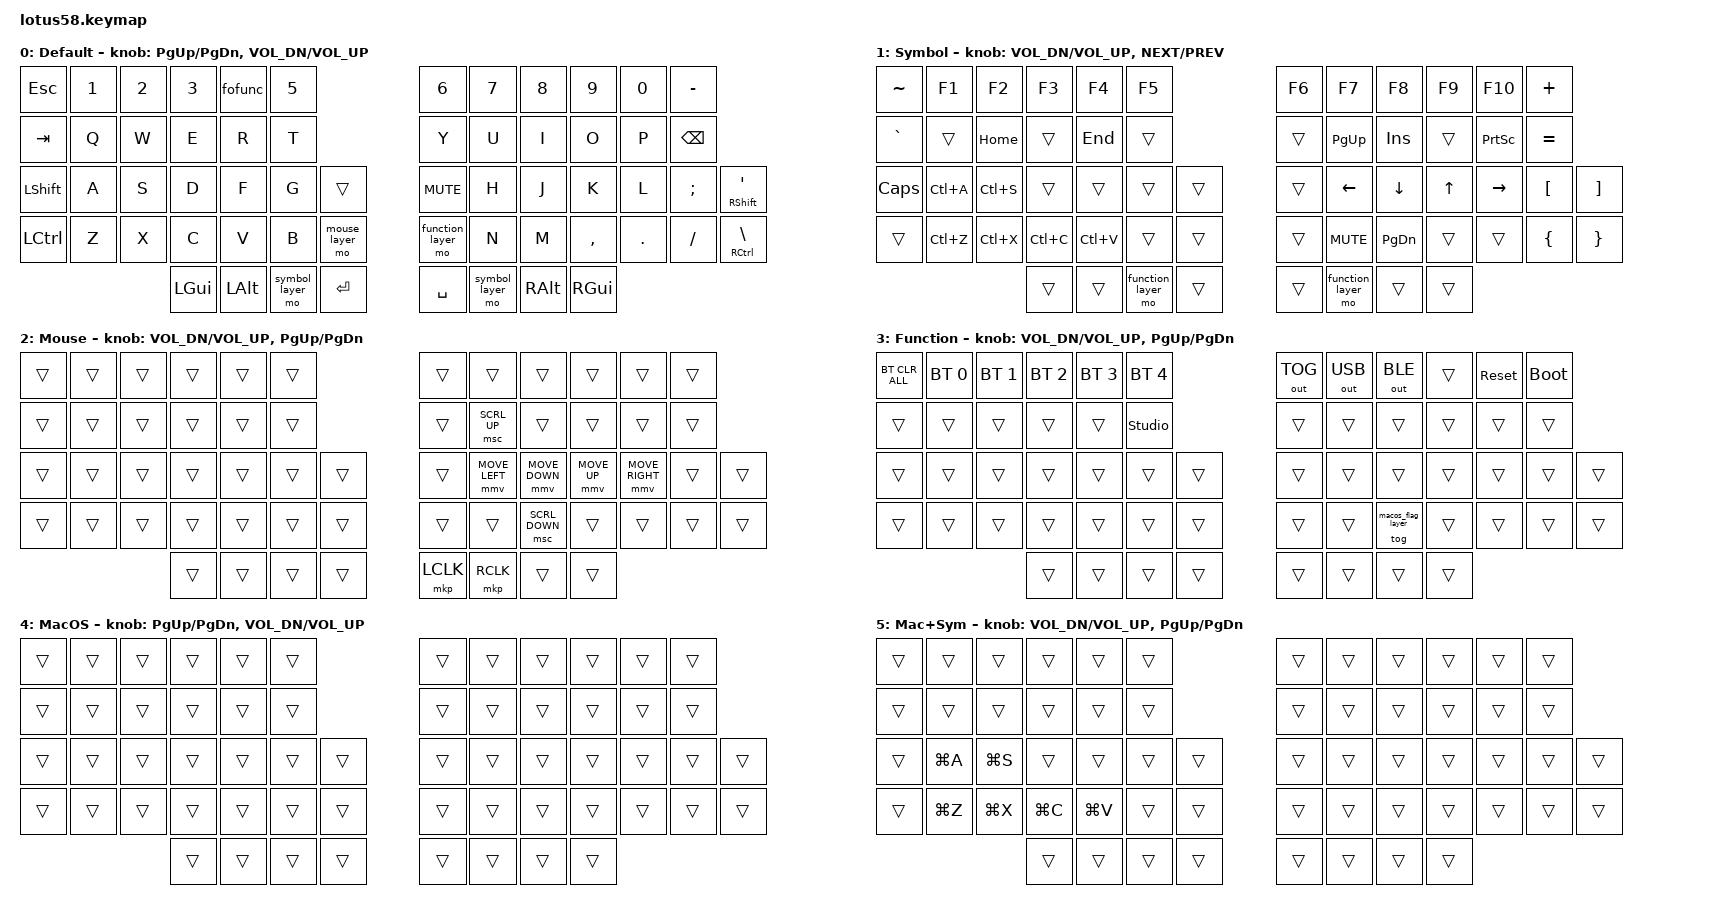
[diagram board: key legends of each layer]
#include <behaviors.dtsi>
#include <dt-bindings/zmk/keys.h>
#include <dt-bindings/zmk/bt.h>
#include <dt-bindings/zmk/outputs.h>
#include <dt-bindings/zmk/pointing.h>


#define default_layer     0
#define symbol_layer      1
#define mouse_layer       2
#define function_layer    3
#define macos_flag_layer  4
#define macos_layer       5

/*
Key Caps
These symbols are used when describing different layers below
   ------------------------------------------------------|  |---------------------------------------------------------------|
 0|   ESC   |   1  |   2  |  3   |  4    |   5  |        |  |           |   6   |  7   |    8    |   9   |   0    |   -     |
12|  BowTie |   Q  |   W  |  E   |  R    |   T  |        |  |           |   Y   |  U   |    I    |   O   |   P    |  DEL    |
24|  SHIFT  |   A  |   S  |  D   |  F    |   G  |ink-disp|  | [knob]    |   H   |  J   |    K    |   L   |   ;    | Lasso   |
38|   CTRL  |   Z  |   X  |  C   |  V    |   B  |Glasses |  |  Hat      |   N   |  M   |    ,    |   .   |   /    |   \     |
52|                          Win | ALT | Triangle |Cane  |  | Tux  | Triangle |   Mustache | FUNC                           |
   ------------------------------------------------------|  |---------------------------------------------------------------|
*/


/ {
    conditional_layers {
        compatible = "zmk,conditional-layers";
        macos {
            if-layers = <symbol_layer macos_flag_layer>;
            then-layer = <macos_layer>;
        };
    };

    combos {
        compatible = "zmk,combos";
        combo_dsklg {
            timeout-ms = <100>;
            key-positions = <24 52>;
            layers = <default_layer>;
            bindings = <&kp LGUI>;
        };
    };

    behaviors {
        fofunc: four_ffour {
            compatible = "zmk,behavior-mod-morph";
            #binding-cells = <0>;
            bindings = <&kp N4>, <&kp F4>;
            mods = <(MOD_LALT|MOD_RALT)>;
        };
        sqt_rshft: sqt_rshft {
            compatible = "zmk,behavior-hold-tap";
            #binding-cells = <2>;
            flavor = "balanced";
            tapping-term-ms = <200>;
            bindings = <&kp>, <&kp>;
        };
    };

    keymap {
        compatible = "zmk,keymap";

        default_layer {
            display-name = "Default";
/*
  Default Layer:
  All keys same as keycaps except:
    First Row:
      - 4: 4 and F4 (Holding Alt) [four_ffour function]
    Second Row:
      - BowTie: Tab [I need to get a TAB keycap]

      - DEL: Backspace key
    Third Row:
      - Lasso: Right Shift key and ' key
    Fourth Row:
       -  Glasses: Mouse Layer (hold)
       - Hat: Function Layer (hold) momentary key

       - \: Right Ctrl key and \ key
    Fifth Row:
      - Win: Left OS key (e.g., Apple Command Key, Windows key, etc) / LGUI
      - Triangle: (left side): Symbol Layer key
      - Cane: Return/Enter

      - Tux: Space
      - Triangle: (right side): Symbol Layer key
      - Mustache: Right Alt Key
      - FUNC: Right OS key (e.g., Apple Command Key, Windows key, etc.) / RGUI
*/
            bindings = <
   &kp ESC   &kp N1 &kp N2 &kp N3 &fofunc &kp N5                                          &kp N6  &kp N7 &kp N8    &kp N9  &kp N0   &kp MINUS
   &kp TAB   &kp Q  &kp W  &kp E  &kp R   &kp T                                           &kp Y   &kp U  &kp I     &kp O   &kp P    &kp BSPC
   &kp LSHFT &kp A  &kp S  &kp D  &kp F &kp G   &trans               &kp C_MUTE         &kp H   &kp J  &kp K     &kp L   &kp SEMI &sqt_rshft RSHFT SQT
   &kp LCTRL &kp Z  &kp X  &kp C  &kp V   &kp B   &mo mouse_layer    &mo function_layer  &kp N   &kp M  &kp COMMA &kp DOT &kp FSLH &mt RCTRL BSLH
              &kp LGUI &kp LALT  &mo symbol_layer &kp RET            &kp SPACE &mo symbol_layer &kp RALT &kp RGUI
            >;

            sensor-bindings = <&inc_dec_kp PG_UP PG_DN &inc_dec_kp C_VOL_DN C_VOL_UP>;
        };

        symbol_layer {
            display-name = "Symbol";

/*
  Symbol Layer:
    Triggered by: (When either triangle on default level is held)


*/
/* ---------------------------------------------------------------------|    |--------------------------------------------------------------------------|
 0|    ~    |    F1    |   F2     |   F3     |  F4      |  F5 |         |    |          |   F6      |  F7  |      F8     |  F9      |  F10    |   +     |
12|    `    |          |   HOME   |          |  END     |     |         |    |          |           | Pg Up|     Insert  |          | PSCRN   |   =     |
24|Caps Lock|  SELECT  |   SAVE   |          |          |     |ink-disp |    | [knob]   | Left      | Down |      Up     | Right    |   [     |   ]     |
38|         |   UNDO   |   CUT    |   COPY   |  PASTE   |     |         |    |          | Mute      |Pg Dwn|             |          |   {     |   }     |
52|                                       LGUI | LALT | Fn Layer | RET  |    |  SPACE | Fn Layer |   RALT | LGUI                                    |
   ---------------------------------------------------------------------|    |---------------------------------------------------------------------------

   Clipboard keys (SELECT, SAVE, UNDO, CUT, COPY, PASTE) use Ctrl equivalents
   (LC) as the OS-agnostic default (Linux/Windows). When MacOS layer is toggled
   on via Function + M, those same positions are overridden with Cmd equivalents
   (LG) for macOS.
   */

            bindings = <
   &kp TILDE &kp F1     &kp F2     &kp F3     &kp F4      &kp F5                         &kp F6      &kp F7     &kp F8    &kp F9     &kp F10   &kp PLUS
   &kp GRAVE &trans     &kp HOME   &trans     &kp END     &trans                         &trans      &kp PG_UP  &kp INS   &trans     &kp PSCRN &kp EQUAL
   &kp CLCK  &kp LC(A)     &kp LC(S)  &trans     &trans      &trans  &trans      &trans     &kp LEFT    &kp DOWN   &kp UP    &kp RIGHT  &kp LBKT  &kp RBKT
   &trans    &kp LC(Z)  &kp LC(X)  &kp LC(C)  &kp LC(V)   &trans  &trans      &trans     &kp C_MUTE  &kp PG_DN  &trans    &trans     &kp LBRC  &kp RBRC
                                 &trans   &trans &mo function_layer  &trans    &trans    &mo function_layer &trans     &trans
            >;

            sensor-bindings = <&inc_dec_kp C_VOL_DN C_VOL_UP &inc_dec_kp C_NEXT C_PREV>;
        };


        mouse_layer {
            display-name = "Mouse";

/* --------------------------------------------------|    |---------------------------------------------------------------------------------------|
 0|      |      |      |      |      |     |         |    |         |            |              |             |               |         |         |
12|      |      |      |      |      |     |         |    |         |            | M Scroll Up  |             |               |         |         |
24|      |      |      |      |      |     |ink-disp |    | [knob]  | Mouse Left | M Down       |   Mouse Up  | M Right       |         |         |
38|      |      |      |      |      |     |         |    |         |            | M Scroll Dn  |             |               |         |         |
52|                                                  |    | LCLICK  |   RCLICK   |                                                                |
   --------------------------------------------------|    |---------------------------------------------------------------------------------------*/
           

            bindings = <
   &trans &trans &trans &trans &trans &trans                         &trans    &trans         &trans         &trans        &trans          &trans
   &trans &trans &trans &trans &trans &trans                         &trans    &msc SCRL_UP   &trans         &trans        &trans          &trans
   &trans &trans &trans &trans &trans &trans &trans                  &trans    &mmv MOVE_LEFT &mmv MOVE_DOWN &mmv MOVE_UP  &mmv MOVE_RIGHT &trans    &trans
   &trans &trans &trans &trans &trans &trans &trans        &trans    &trans    &msc SCRL_DOWN &trans        &trans          &trans    &trans
                        &trans &trans &trans &trans             &mkp LCLK &mkp RCLK      &trans         &trans
            >;

            sensor-bindings = <&inc_dec_kp C_VOL_DN C_VOL_UP &inc_dec_kp PG_UP PG_DN>;
        };


        function_layer {
            display-name = "Function";

/*
Left:
--------------------------------------------------------------------------------------|
 0|     BTCLR    |     BT1    |     BT2    |  BT3       | BT4        | BT5   |        |
12|              |            |            |            |            | Unlock|        |
24|              |            |            |            |            |       |ink-disp|
38|              |            |            |            |            |       |        |
52|                                                                                   |
   -----------------------------------------------------------------------------------|  


Right:
------------------------------------------------------------------------------------|
 0|   OUT_TOG    |   OUT_USB  |  Out BLE   |            | Reset      | Bootloader   |
12|              |            |            |            |            |              |
24|   [knob]     |            |            |            |            |              |
38|              |            | Mac Toggle |            |            |              |
52|              |            |            |            |            |              |
------------------------------------------------------------------------------------|
*/
           

            bindings = <

   &bt BT_CLR_ALL &bt BT_SEL 0 &bt BT_SEL 1 &bt BT_SEL 2 &bt BT_SEL 3 &bt BT_SEL 4
   &out OUT_TOG   &out OUT_USB &out OUT_BLE &trans       &sys_reset   &bootloader

   &trans         &trans       &trans       &trans       &trans       &studio_unlock
   &trans         &trans       &trans       &trans       &trans       &trans 
   
   &trans         &trans       &trans       &trans       &trans       &trans        &trans
   &trans         &trans       &trans       &trans       &trans       &trans        &trans
   
   &trans         &trans       &trans       &trans       &trans       &trans        &trans
   &trans         &trans       &tog macos_flag_layer &trans &trans      &trans        &trans

   &trans        &trans      &trans      &trans
   &trans        &trans      &trans      &trans
            >;

            sensor-bindings = <&inc_dec_kp C_VOL_DN C_VOL_UP &inc_dec_kp PG_UP PG_DN>;
        };

        macos_flag_layer {
            display-name = "MacOS";

/* Marker layer — all transparent. Toggled on/off via Function + M.
   When active simultaneously with symbol_layer, triggers macos_layer
   via conditional_layers to override clipboard keys with Cmd equivalents.
*/

            bindings = <
   &trans &trans &trans &trans &trans &trans               &trans &trans &trans &trans &trans &trans
   &trans &trans &trans &trans &trans &trans               &trans &trans &trans &trans &trans &trans
   &trans &trans &trans &trans &trans &trans &trans        &trans &trans &trans &trans &trans &trans &trans
   &trans &trans &trans &trans &trans &trans &trans        &trans &trans &trans &trans &trans &trans &trans
                        &trans &trans &trans &trans        &trans &trans &trans &trans
            >;

            sensor-bindings = <&inc_dec_kp PG_UP PG_DN &inc_dec_kp C_VOL_DN C_VOL_UP>;
        };

        macos_layer {
            display-name = "Mac+Sym";

/* Conditional layer — activates only when both symbol_layer and
   macos_flag_layer are active. Overrides clipboard/editing keys
   with macOS Cmd equivalents at the same positions as symbol_layer.

   Row 24: SELECT (Cmd+A), SAVE (Cmd+S)
   Row 38: UNDO (Cmd+Z), CUT (Cmd+X), COPY (Cmd+C), PASTE (Cmd+V)
*/

            bindings = <
   &trans &trans    &trans    &trans    &trans    &trans               &trans &trans &trans &trans &trans &trans
   &trans &trans    &trans    &trans    &trans    &trans               &trans &trans &trans &trans &trans &trans
   &trans &kp LG(A) &kp LG(S) &trans    &trans    &trans &trans        &trans &trans &trans &trans &trans &trans &trans
   &trans &kp LG(Z) &kp LG(X) &kp LG(C) &kp LG(V) &trans &trans      &trans &trans &trans &trans &trans &trans &trans
                          &trans &trans &trans &trans                  &trans &trans &trans &trans
            >;

            sensor-bindings = <&inc_dec_kp C_VOL_DN C_VOL_UP &inc_dec_kp PG_UP PG_DN>;
        };
    };

};

&mmv {
    time-to-max-speed-ms = <700>;
};
